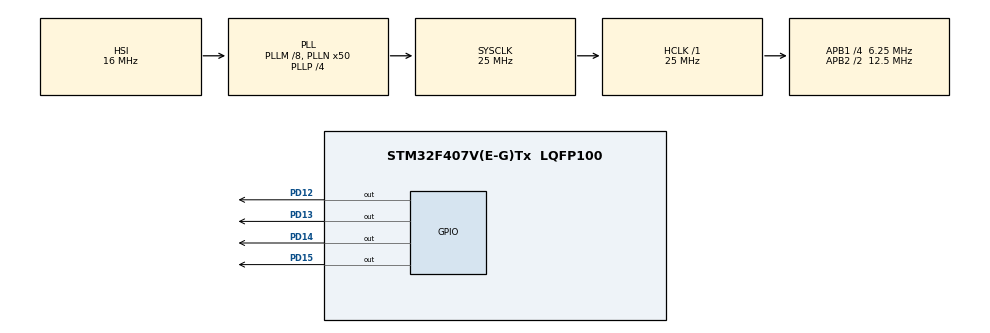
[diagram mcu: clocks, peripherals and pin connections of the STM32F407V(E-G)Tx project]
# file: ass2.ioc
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FREERTOS.INCLUDE_vTaskDelayUntil=1
FREERTOS.Tasks01=defaultTask,0,128,StartDefaultTask,Default,NULL,Dynamic,NULL,NULL;myTask02,-3,128,StartTask02,Default,NULL,Dynamic,NULL,NULL
FREERTOS.configUSE_NEWLIB_REENTRANT=1
Mcu.Family=STM32F4
Mcu.Name=STM32F407V(E-G)Tx
Mcu.Package=LQFP100
NVIC.PriorityGroup=NVIC_PRIORITYGROUP_4
NVIC.TIM1_UP_TIM10_IRQn=true\:15\:0\:false\:false\:true\:false\:false\:true\:true
NVIC.TimeBase=TIM1_UP_TIM10_IRQn
NVIC.TimeBaseIP=TIM1
PD12.Signal=GPIO_Output
PD13.Signal=GPIO_Output
PD14.Signal=GPIO_Output
PD15.Signal=GPIO_Output
ProjectManager.HeapSize=0x200
ProjectManager.StackSize=0x400
ProjectManager.TargetToolchain=STM32CubeIDE
RCC.48MHZClocksFreq_Value=14285714.285714285
RCC.AHBFreq_Value=25000000
RCC.APB1CLKDivider=RCC_HCLK_DIV4
RCC.APB1Freq_Value=6250000
RCC.APB1TimFreq_Value=12500000
RCC.APB2CLKDivider=RCC_HCLK_DIV2
RCC.APB2Freq_Value=12500000
RCC.APB2TimFreq_Value=25000000
RCC.CortexFreq_Value=25000000
RCC.HCLKFreq_Value=25000000
RCC.HSE_VALUE=8000000
RCC.HSI_VALUE=16000000
RCC.LSE_VALUE=32768
RCC.PLLM=8
RCC.PLLN=50
RCC.PLLP=RCC_PLLP_DIV4
RCC.PLLQ=7
RCC.SYSCLKFreq_VALUE=25000000
RCC.SYSCLKSource=RCC_SYSCLKSOURCE_PLLCLK
RCC.VCOOutputFreq_Value=100000000
VP_FREERTOS_VS_CMSIS_V1.Mode=CMSIS_V1
VP_SYS_VS_tim1.Mode=TIM1
board=STM32F407G-DISC1

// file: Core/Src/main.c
/* USER CODE BEGIN Header */
/**
  ******************************************************************************
  * @file           : main.c
  * @brief          : Main program body
  ******************************************************************************
  * @attention
  *
  * Copyright (c) 2024 STMicroelectronics.
  * All rights reserved.
  *
  * This software is licensed under terms that can be found in the LICENSE file
  * in the root directory of this software component.
  * If no LICENSE file comes with this software, it is provided AS-IS.
  *
  ******************************************************************************
  */
/* USER CODE END Header */
#include "main.h"
#include "cmsis_os.h"

osThreadId defaultTaskHandle;
osThreadId myTask02Handle;

void SystemClock_Config(void);
static void MX_GPIO_Init(void);
void StartDefaultTask(void const * argument);
void StartTask02(void const * argument);

/* USER CODE BEGIN 0 */
void vContinuousTask(void *pvParam)
{
	uint8_t pin = (uint8_t)pvParam;
	while(1)
	{
		HAL_GPIO_Toggle(GPIOD,pin);
		vTaskDelay(2000 / portTICK_RATE_MS);

	}
	vTaskDelete(NULL);
}
void vPeriodicTask1(void *pvParam)
{
	uint8_t pin = (uint8_t)pvParam;
	portTickType xlastwakeupTime = xTaskGetTickCount();
	while(1)
	{
		HAL_GPIO_TogglePin(GPIOD,pin);
		vTaskDelayUntil(&xlastwakeupTime , 2000 / portTICK_RATE_MS);

	}
	vTaskDelete(NULL);
}

void vPeriodicTask2(void *pvParam)
{
	uint16_t pin = (uint16_t)pvParam;
	portTickType xlastwakeupTime = xTaskGetTickCount();
	while(1)
	{
		HAL_GPIO_TogglePin(GPIOD,pin);
		vTaskDelayUntil(&xlastwakeupTime , 2000 / portTICK_RATE_MS);

	}
	vTaskDelete(NULL);
}

void vPeriodicTask3(void *pvParam)
{
	uint16_t pin = (uint16_t)pvParam;
	portTickType xlastwakeupTime = xTaskGetTickCount();
	while(1)
	{
		HAL_GPIO_TogglePin(GPIOD,pin);
		vTaskDelayUntil(&xlastwakeupTime , 2000 / portTICK_RATE_MS);

	}
	vTaskDelete(NULL);
}

void vPeriodicTask4(void *pvParam)
{
	uint16_t pin = (uint16_t)pvParam;
	portTickType xlastwakeupTime = xTaskGetTickCount();
	while(1)
	{
		HAL_GPIO_TogglePin(GPIOD,pin);
		vTaskDelayUntil(&xlastwakeupTime , 2000 / portTICK_RATE_MS);

	}
	vTaskDelete(NULL);
}

/* USER CODE END 0 */

int main(void)
{

  /* USER CODE BEGIN 1 */
	BaseType_t xRet;

  /* USER CODE END 1 */

  /* MCU Configuration--------------------------------------------------------*/

  /* Reset of all peripherals, Initializes the Flash interface and the Systick. */
  HAL_Init();

  /* Configure the system clock */
  SystemClock_Config();

  /* Initialize all configured peripherals */
  MX_GPIO_Init();

  /* Create the thread(s) */
  /* definition and creation of defaultTask */
  osThreadDef(defaultTask, StartDefaultTask, osPriorityNormal, 0, 128);
  defaultTaskHandle = osThreadCreate(osThread(defaultTask), NULL);

  /* definition and creation of myTask02 */
  //osThreadDef(myTask02, StartTask02, osPriorityIdle, 0, 128);
//  myTask02Handle = osThreadCreate(osThread(myTask02), NULL);

  /* USER CODE BEGIN RTOS_THREADS */
  /* add threads, ... */
  xRet = xTaskCreate(vPeriodicTask1 , "Task1", configMINIMAL_STACK_SIZE,(void *)GPIO_PIN_12,4 , NULL);
  	 if(xRet != pdTRUE)
	  Error_Handler();

  xRet = xTaskCreate(vPeriodicTask2,  "Task1", configMINIMAL_STACK_SIZE , (void *)GPIO_PIN_12, 4, NULL);
    if(xRet != pdTRUE)
  	  Error_Handler();

  xRet = xTaskCreate(vPeriodicTask3 , "Task3", configMINIMAL_STACK_SIZE,(void *)GPIO_PIN_14,4,NULL);
      if(xRet != pdTRUE)
    	  Error_Handler();

  xRet = xTaskCreate(vPeriodicTask4 , "Task4", configMINIMAL_STACK_SIZE,(void *)GPIO_PIN_15,4,NULL);
      if(xRet != pdTRUE)
      	  Error_Handler();
  /* USER CODE END RTOS_THREADS */

  /* Start scheduler */
  osKernelStart();

  /* We should never get here as control is now taken by the scheduler */

  /* Infinite loop */
  while (1)
  {

  }
}

void SystemClock_Config(void)
{
  RCC_OscInitTypeDef RCC_OscInitStruct = {0};
  RCC_ClkInitTypeDef RCC_ClkInitStruct = {0};

  /** Configure the main internal regulator output voltage
  */
  __HAL_RCC_PWR_CLK_ENABLE();
  __HAL_PWR_VOLTAGESCALING_CONFIG(PWR_REGULATOR_VOLTAGE_SCALE1);

  /** Initializes the RCC Oscillators according to the specified parameters
  * in the RCC_OscInitTypeDef structure.
  */
  RCC_OscInitStruct.OscillatorType = RCC_OSCILLATORTYPE_HSI;
  RCC_OscInitStruct.HSIState = RCC_HSI_ON;
  RCC_OscInitStruct.HSICalibrationValue = RCC_HSICALIBRATION_DEFAULT;
  RCC_OscInitStruct.PLL.PLLState = RCC_PLL_ON;
  RCC_OscInitStruct.PLL.PLLSource = RCC_PLLSOURCE_HSI;
  RCC_OscInitStruct.PLL.PLLM = 8;
  RCC_OscInitStruct.PLL.PLLN = 50;
  RCC_OscInitStruct.PLL.PLLP = RCC_PLLP_DIV4;
  RCC_OscInitStruct.PLL.PLLQ = 7;
  if (HAL_RCC_OscConfig(&RCC_OscInitStruct) != HAL_OK)
  {
    Error_Handler();
  }

  /** Initializes the CPU, AHB and APB buses clocks
  */
  RCC_ClkInitStruct.ClockType = RCC_CLOCKTYPE_HCLK|RCC_CLOCKTYPE_SYSCLK
                              |RCC_CLOCKTYPE_PCLK1|RCC_CLOCKTYPE_PCLK2;
  RCC_ClkInitStruct.SYSCLKSource = RCC_SYSCLKSOURCE_PLLCLK;
  RCC_ClkInitStruct.AHBCLKDivider = RCC_SYSCLK_DIV1;
  RCC_ClkInitStruct.APB1CLKDivider = RCC_HCLK_DIV4;
  RCC_ClkInitStruct.APB2CLKDivider = RCC_HCLK_DIV2;

  if (HAL_RCC_ClockConfig(&RCC_ClkInitStruct, FLASH_LATENCY_0) != HAL_OK)
  {
    Error_Handler();
  }
}

static void MX_GPIO_Init(void)
{
  GPIO_InitTypeDef GPIO_InitStruct = {0};

  /* GPIO Ports Clock Enable */
  __HAL_RCC_GPIOD_CLK_ENABLE();

  /*Configure GPIO pin Output Level */
  HAL_GPIO_WritePin(GPIOD, GPIO_PIN_12|GPIO_PIN_13|GPIO_PIN_14|GPIO_PIN_15, GPIO_PIN_RESET);

  /*Configure GPIO pins : PD12 PD13 PD14 PD15 */
  GPIO_InitStruct.Pin = GPIO_PIN_12|GPIO_PIN_13|GPIO_PIN_14|GPIO_PIN_15;
  GPIO_InitStruct.Mode = GPIO_MODE_OUTPUT_PP;
  GPIO_InitStruct.Pull = GPIO_NOPULL;
  GPIO_InitStruct.Speed = GPIO_SPEED_FREQ_LOW;
  HAL_GPIO_Init(GPIOD, &GPIO_InitStruct);

}

void StartDefaultTask(void const * argument)
{
  for(;;)
  {
    osDelay(1);
  }
}

void StartTask02(void const * argument)
{
  for(;;)
  {
    osDelay(1);
  }
}

void HAL_TIM_PeriodElapsedCallback(TIM_HandleTypeDef *htim)
{
  if (htim->Instance == TIM1) {
    HAL_IncTick();
  }
}

void Error_Handler(void)
{
  __disable_irq();
  while (1)
  {
  }
}
